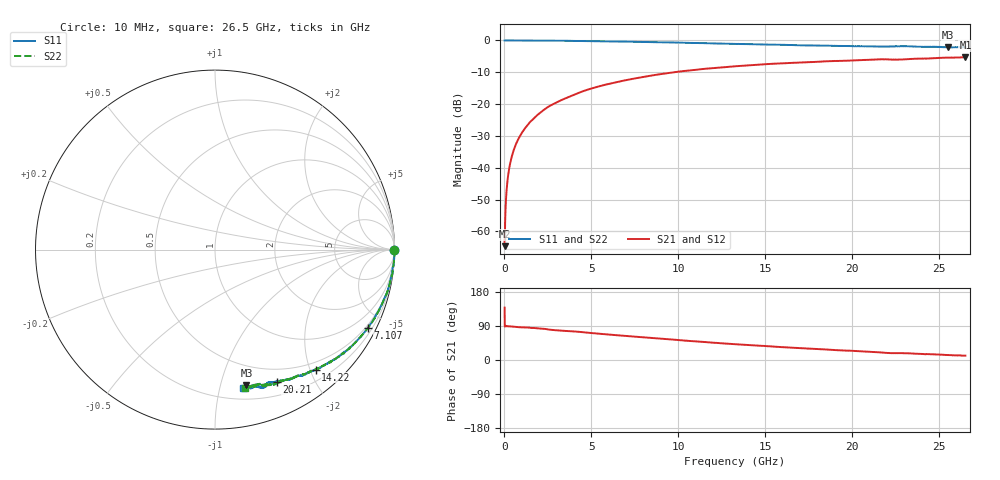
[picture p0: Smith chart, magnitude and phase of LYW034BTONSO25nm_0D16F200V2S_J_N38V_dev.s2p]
!Keysight Technologies,N5222B,MY61253708,A.15.00.15
!Date: Wednesday, June 19, 2024 08:59:44
!Correction: S11(C  2-Port  )
!S21(C  2-Port  )
!S12(C  2-Port  )
!S22(C  2-Port  )
!S2P File: Measurements: S11, S21, S12, S22:
# Hz S  RI  R 50
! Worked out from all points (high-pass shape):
!   2651 points, 10 MHz to 26.5 GHz, reference 50 ohm
!   highest |S21| = -5.24 dB at 26.5 GHz (marker M1); lowest = -64.7 dB at 20 MHz (marker M2)
!   |S21| within 3 dB of the highest: 12.98 GHz to end of sweep
!   lowest |S11| = -2.2 dB at 25.5 GHz (marker M3), VSWR 7.93, Z = 15.9 - j60.4 ohm
!   |S11| at or under -10 dB: nowhere
!   |S22| runs from -2.1 to 0.0 dB; largest |S21 - S12| = 0.0075
!   S11 on the Smith chart (normalised r, x): 10 MHz: open; 7.107 GHz: 0.40, -4.09; 14.22 GHz: 0.37, -2.09; 20.21 GHz: 0.35, -1.51; 26.5 GHz: 0.29, -1.18
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1e7  0.9985 -0.00237  -0.000542 0.000484  2.35e-05 0.000474  0.9989 -0.00109
1.999623e7  0.9991 -0.0021  1.59e-05 0.000584  -1.9e-05 0.000823  0.9992 -0.00211
8.996981e7  0.9998 -0.00603  -4.37e-06 0.00318  4.01e-05 0.00322  0.9995 -0.0058
1.699396e8  0.9998 -0.0123  9.98e-05 0.00604  7.19e-05 0.00608  0.9996 -0.0117
2.199208e8  0.9997 -0.0159  0.000158 0.00783  0.000143 0.00787  0.9992 -0.0151
2.898943e8  0.9997 -0.0209  0.000182 0.0103  0.000235 0.0103  0.9995 -0.0202
3.998528e8  0.9991 -0.0286  0.000405 0.0142  0.000435 0.0143  0.9991 -0.0276
5.298038e8  0.9988 -0.0372  0.000672 0.0188  0.000672 0.0189  0.9989 -0.0367
8.896679e8  0.9973 -0.0626  0.00194 0.0312  0.00198 0.0315  0.9967 -0.0614
1.489442e9  0.9891 -0.1049  0.00476 0.0526  0.00481 0.0529  0.9921 -0.1016
2.359113e9  0.9793 -0.1608  0.0121 0.084  0.0123 0.0845  0.9807 -0.161
3.208792e9  0.966 -0.217  0.0243 0.1106  0.0244 0.1113  0.9661 -0.2162
4.428332e9  0.9356 -0.292  0.0438 0.1499  0.0441 0.1507  0.9372 -0.2894
7.107321e9  0.8505 -0.4376  0.1095 0.2148  0.1107 0.2157  0.8519 -0.4364
8.846664e9  0.7837 -0.5148  0.1598 0.2445  0.1611 0.2452  0.7851 -0.5135
1.3255e10  0.6 -0.6482  0.2924 0.2618  0.2944 0.2618  0.6032 -0.6473
1.422463e10  0.5616 -0.6691  0.3181 0.2574  0.3198 0.2572  0.5663 -0.6647
1.767333e10  0.4245 -0.7186  0.3979 0.2264  0.4011 0.2253  0.4353 -0.7167
2.021237e10  0.3427 -0.7349  0.4469 0.1967  0.4482 0.1942  0.3555 -0.7356
2.209166e10  0.2916 -0.7441  0.477 0.1591  0.4785 0.1571  0.2853 -0.7508
2.550038e10  0.1752 -0.756  0.5226 0.1195  0.524 0.1205  0.1953 -0.7609
2.65e10  0.1571 -0.7706  0.5361 0.1085  0.535 0.1057  0.1692 -0.77
